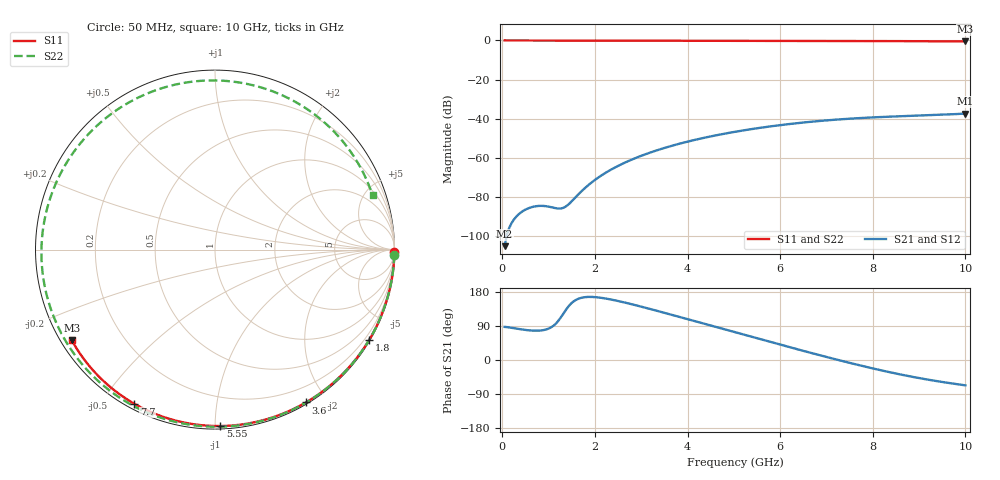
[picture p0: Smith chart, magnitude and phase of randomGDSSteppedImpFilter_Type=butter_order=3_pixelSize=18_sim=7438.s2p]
! freq	dB(S11)	phase(S11)	dB(S12)	phase(S12)
!  dB(S21)	phase(S21)	dB(S22)	phase(S22)
!S-par simulation data
#  GHz  S  DB  R 50
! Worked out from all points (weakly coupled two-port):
!   200 points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, 50 MHz to 10 GHz, reference 50 ohm
!   highest |S21| = -37.36 dB at 10 GHz (marker M1); lowest = -105.1 dB at 50 MHz (marker M2)
!   lowest |S11| = -0.5 dB at 10 GHz (marker M3), VSWR 34.88, Z = 1.55 - j14.5 ohm
!   |S11| at or under -10 dB: nowhere
!   |S22| runs from -0.6 to 0.0 dB; largest |S21 - S12| = 0
!   S11 on the Smith chart (normalised r, x): 50 MHz: open; 1.8 GHz: 0.03, -3.68; 3.6 GHz: 0.02, -1.76; 5.55 GHz: 0.02, -1.03; 7.7 GHz: 0.02, -0.61; 10 GHz: 0.03, -0.29
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0.05  -0.00 -0.9  -105.14 87.4  -105.14 87.4  -0.01 -1.6
0.75  -0.01 -12.8  -84.65 77.3  -84.65 77.3  -0.03 -24.5
1.55  -0.03 -26.3  -80.94 155.5  -80.94 155.5  -0.06 -50.0
1.6  -0.03 -27.1  -79.70 159.2  -79.70 159.2  -0.07 -51.6
1.75  -0.04 -29.6  -76.18 165.2  -76.18 165.2  -0.07 -56.3
1.8  -0.04 -30.4  -75.11 166.0  -75.11 166.0  -0.07 -57.8
2.1  -0.05 -35.3  -69.62 164.7  -69.62 164.7  -0.08 -67.1
2.45  -0.05 -41.0  -64.72 157.1  -64.72 157.1  -0.10 -77.8
3.4  -0.07 -56.2  -55.68 127.9  -55.68 127.9  -0.14 -106.2
3.6  -0.08 -59.3  -54.25 121.2  -54.25 121.2  -0.15 -112.0
4.3  -0.10 -69.9  -50.05 97.7  -50.05 97.7  -0.18 -132.6
5.05  -0.12 -81.0  -46.58 72.3  -46.58 72.3  -0.23 -154.8
5.55  -0.14 -88.2  -44.71 55.5  -44.71 55.5  -0.27 -170.1
6.15  -0.17 -96.7  -42.85 35.6  -42.85 35.6  -0.32 170.8
6.7  -0.20 -104.2  -41.48 17.6  -41.48 17.6  -0.37 152.3
7.2  -0.23 -111.0  -40.48 1.7  -40.48 1.7  -0.41 134.3
7.7  -0.27 -117.6  -39.69 -13.5  -39.69 -13.5  -0.46 115.3
8.35  -0.32 -126.2  -38.96 -31.8  -38.96 -31.8  -0.52 89.0
8.7  -0.36 -130.7  -38.66 -40.7  -38.66 -40.7  -0.54 74.3
9.1  -0.40 -135.9  -38.33 -49.9  -38.33 -49.9  -0.57 57.2
9.55  -0.44 -141.8  -37.91 -58.9  -37.91 -58.9  -0.61 37.9
10  -0.50 -147.7  -37.36 -66.9  -37.36 -66.9  -0.65 19.0
